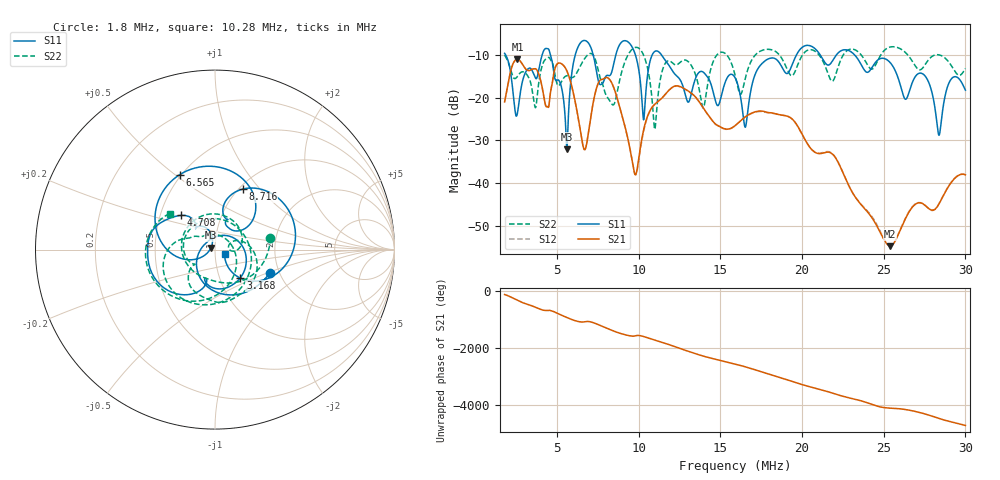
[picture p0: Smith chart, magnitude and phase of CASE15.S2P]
!Agilent Technologies,E5061B,MY49101568,A.02.00
!Date: Wed Mar 01 15:34:00 2023
!Data & Calibration Information:
!Freq	S11:SOLT2(OFF)	S21:SOLT2(OFF)	S12:SOLT2(OFF)	S22:SOLT2(OFF)
# Hz S dB R 50
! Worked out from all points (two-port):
!   1155 points, 1.8 MHz to 30 MHz, reference 50 ohm
!   highest |S21| = -10.98 dB at 2.582 MHz (marker M1); lowest = -54.8 dB at 25.36 MHz (marker M2)
!   |S21| within 3 dB of the highest: 2.157 MHz to 3.84 MHz (1.683 MHz wide, 56.1 % of centre); 4.826 MHz to 5.64 MHz (813.9 kHz wide, 15.6 % of centre)
!   lowest |S11| = -32.1 dB at 5.612 MHz (marker M3), VSWR 1.05, Z = 47.8 + j0.977 ohm
!   |S11| at or under -10 dB: 1.865 MHz to 4.094 MHz (2.229 MHz wide, 74.8 % of centre); 11.41 MHz to 19.66 MHz (8.253 MHz wide, 53.1 % of centre); 23.23 MHz to end of sweep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
!   |S22| runs from -27.4 to -8.1 dB; largest |S21 - S12| = 0.0051
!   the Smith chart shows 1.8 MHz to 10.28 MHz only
!   S11 on the Smith chart (normalised r, x): 1.8 MHz: 1.78, -0.52; 3.168 MHz: 1.25, -0.41; 4.708 MHz: 0.64, +0.26; 6.565 MHz: 0.49, +0.52; 8.716 MHz: 1.04, +0.81; 10.28 MHz: 1.11, -0.05
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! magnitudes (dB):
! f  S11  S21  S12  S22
! 1.8 MHz  -9.6  -21.0  -21.0  -10.0
! 2.582 MHz  -23.7  -11.0  -10.9  -15.0
! 3.168 MHz  -13.5  -13.5  -13.5  -14.6
! 4.708 MHz  -11.5  -16.8  -16.7  -11.7
! 5.612 MHz  -32.1  -13.7  -13.7  -14.9
! 6.516 MHz  -6.9  -29.6  -29.7  -12.0
! 6.565 MHz  -6.7  -30.7  -30.7  -11.6
! 7.616 MHz  -16.8  -16.0  -16.1  -14.9
! 8.716 MHz  -8.6  -20.5  -20.5  -18.2
! 9.766 MHz  -9.5  -37.9  -37.7  -8.3
! 10.28 MHz  -24.6  -28.0  -28.4  -9.8
! 11.21 MHz  -9.2  -20.8  -20.8  -18.8
! 13.02 MHz  -21.0  -18.4  -18.4  -11.5
! 13.95 MHz  -14.0  -22.3  -22.3  -22.4
! 15.9 MHz  -15.3  -26.6  -26.6  -14.6
! 16.54 MHz  -26.9  -24.5  -24.5  -15.4
! 17.49 MHz  -12.3  -23.1  -23.2  -9.0
! 20.62 MHz  -8.0  -32.2  -32.2  -8.8
! 25.31 MHz  -11.4  -54.7  -54.5  -8.2
! 25.36 MHz  -11.6  -54.8  -54.7  -8.2
! 28.39 MHz  -28.8  -44.8  -44.8  -10.0
! 30 MHz  -18.2  -38.1  -38.0  -13.2
